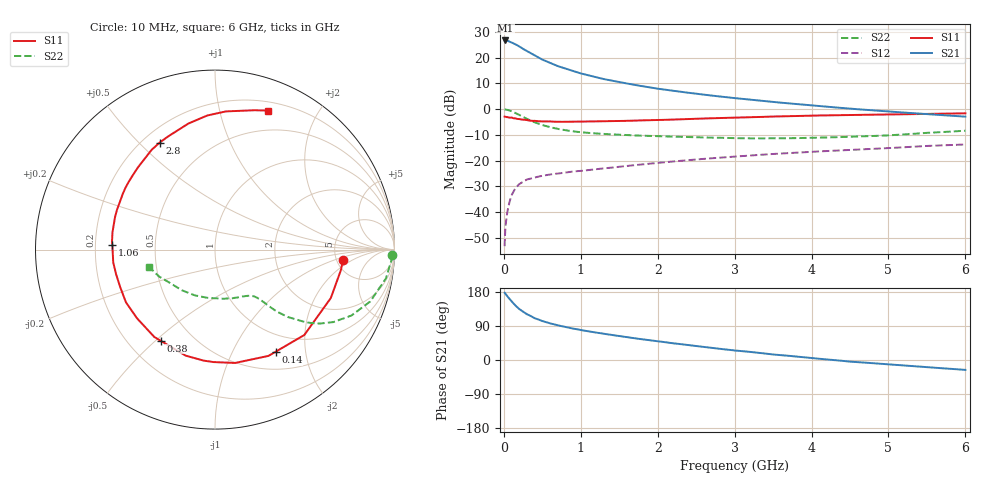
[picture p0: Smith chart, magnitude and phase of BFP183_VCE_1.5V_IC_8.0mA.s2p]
! Infineon Technologies  Discrete & RF Semiconductors
! BFP183
! VCE = 1.5 V,  IC =  8.0 mA
! Common Emitter S-Parameters:  Jan 2016
# GHz  S  MA  R  50
!  f  S11  S21  S12  S22
! GHz  MAG  ANG  MAG  ANG  MAG  ANG  MAG  ANG
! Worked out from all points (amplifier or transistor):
!   210 points, 10 MHz to 6 GHz, reference 50 ohm
!   highest |S21| = 26.6 dB at 20 MHz (marker M1)
!   |S21| within 3 dB of that: start of sweep to 236.2 MHz
!   unconditionally stable (mu >= 1): 1.22 GHz to 5.734 GHz
!   at 185 MHz: K = 0.23, MSG = 27.1 dB, |S12| = -29.6 dB
!   at 1.52 GHz: K = 1.10, MAG = 14.4 dB, |S12| = -22.3 dB
!   at 6 GHz: K = 0.96, MSG = 5.4 dB, |S12| = -13.7 dB
!   S11 on the Smith chart (normalised r, x): 10 MHz: 5.70, -1.34; 140 MHz: 0.74, -1.49; 380 MHz: 0.33, -0.52; 1.06 GHz: 0.27, +0.02; 2.8 GHz: 0.27, +0.58; 6 GHz: 0.29, +1.41
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0.01  0.7155 -4.6  21.3 177.5  0.0022 83.8  0.986 -1.9
0.02  0.7106 -9.3  21.43 175.1  0.0048 83.3  0.9832 -3.9
0.05  0.6994 -22.7  21.13 166.8  0.011 80.6  0.9658 -9.6
0.1  0.6885 -43.7  19.64 154.7  0.0212 69.0  0.9118 -18.5
0.14  0.6617 -59.3  18.42 146.0  0.0275 62.6  0.8566 -24.2
0.15  0.6629 -63.3  18.18 143.6  0.0291 61.4  0.8442 -25.8
0.2  0.6414 -80.0  16.47 134.5  0.0351 55.2  0.7729 -31.5
0.24  0.6266 -90.8  15.04 128.6  0.0383 51.4  0.7195 -34.9
0.3  0.6129 -105.5  13.36 120.8  0.0431 47.1  0.6475 -38.7
0.38  0.5912 -120.9  11.41 112.7  0.0464 43.2  0.5729 -41.8
0.5  0.579 -138.7  9.121 102.8  0.051 39.1  0.4899 -45.0
0.6  0.5766 -149.4  7.885 96.7  0.054 37.7  0.4462 -46.1
0.8  0.5679 -166.1  6.094 86.9  0.0586 37.0  0.3893 -47.5
1.02  0.5705 179.6  4.838 78.4  0.0638 37.5  0.3538 -49.0
1.06  0.5727 177.5  4.675 77.0  0.0649 37.6  0.3496 -49.3
1.5  0.5895 157.8  3.336 63.0  0.0762 38.9  0.3185 -53.9
2.02  0.6153 139.2  2.465 48.9  0.0913 38.8  0.2989 -62.3
2.8  0.671 117.4  1.759 29.5  0.1141 36.2  0.2788 -79.6
3.1  0.6876 110.3  1.579 23.4  0.1229 34.9  0.2719 -87.6
4.1  0.752 91.7  1.146 3.3  0.1513 28.8  0.2798 -117.1
5.1  0.79 78.3  0.876 -13.1  0.1785 22.9  0.316 -145.0
6  0.8287 69.2  0.714 -26.1  0.2062 15.2  0.3815 -165.7
